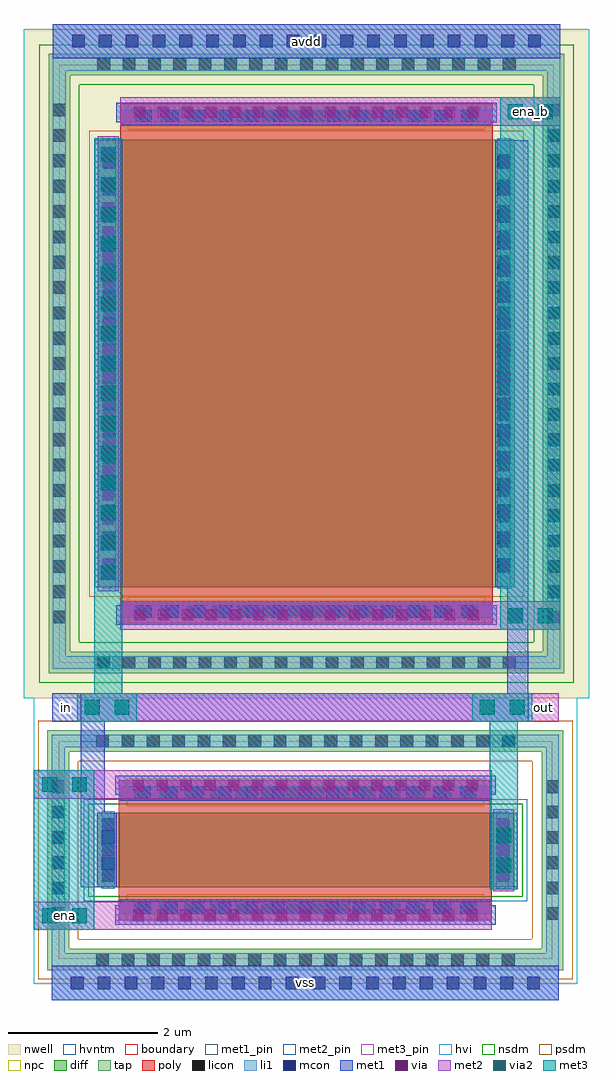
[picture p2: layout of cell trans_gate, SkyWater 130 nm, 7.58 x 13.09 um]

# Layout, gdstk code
import gdstk
lib = gdstk.Library(unit=1e-6, precision=1e-09)
def R(c, l, rs):  # rectangles x0, y0, x1, y1
    for r in rs: c.add(gdstk.rectangle(r[:2], r[2:], *l))
def A(c, l, x, y, w, h, nx, ny, dx, dy):  # array of equal rectangles
    R(c, l, [(x+i*dx, y+j*dy, x+i*dx+w, y+j*dy+h) for i in range(nx) for j in range(ny)])
nwell = (64, 20)
diff = (65, 20)
tap = (65, 44)
poly = (66, 20)
licon = (66, 44)
li1 = (67, 20)
mcon = (67, 44)
met1_pin = (68, 16)
met1 = (68, 20)
via = (68, 44)
met2_pin = (69, 16)
met2 = (69, 20)
via2 = (69, 44)
met3_pin = (70, 16)
met3 = (70, 20)
hvi = (75, 20)
nsdm = (93, 44)
psdm = (94, 20)
npc = (95, 20)
hvntm = (125, 20)
boundary = (235, 4)

sky130_fd_pr__pfet_g5v0d = lib.new_cell('sky130_fd_pr__pfet_g5v0d10v5_E7V9VM')
R(sky130_fd_pr__pfet_g5v0d, nwell, [(-3.79,-4.485,3.79,4.485)])
R(sky130_fd_pr__pfet_g5v0d, diff, [(-2.79,-3,2.79,3)])
R(sky130_fd_pr__pfet_g5v0d, tap, [(-3.46,-4.155,3.46,-3.865), (-3.46,-3.865,-3.17,3.865), (3.17,-3.865,3.46,3.865), (-3.46,3.865,3.46,4.155)])
R(sky130_fd_pr__pfet_g5v0d, poly, [(-2.5,-3.485,2.5,3.485)])
A(sky130_fd_pr__pfet_g5v0d, licon, -2.805, -4.095, 0.17, 0.17, 17, 2, 0.34, 8.02)
A(sky130_fd_pr__pfet_g5v0d, licon, -3.4, -3.485, 0.17, 0.17, 1, 21, 0, 0.34)
A(sky130_fd_pr__pfet_g5v0d, licon, 3.23, -3.485, 0.17, 0.17, 1, 21, 0, 0.34)
A(sky130_fd_pr__pfet_g5v0d, licon, -2.295, -3.405, 0.17, 0.17, 14, 2, 0.34, 6.64)
A(sky130_fd_pr__pfet_g5v0d, licon, -2.73, -2.805, 0.17, 0.17, 1, 17, 0, 0.34)
A(sky130_fd_pr__pfet_g5v0d, licon, 2.56, -2.805, 0.17, 0.17, 1, 17, 0, 0.34)
R(sky130_fd_pr__pfet_g5v0d, li1, [(-3.4,-4.095,3.4,-3.925), (-3.4,-3.925,-3.23,3.925), (3.23,-3.925,3.4,3.925), (-2.5,-3.405,2.5,-3.235), (-2.73,-3.02,-2.56,3.02), (2.56,-3.02,2.73,3.02), (-2.5,3.235,2.5,3.405), (-3.4,3.925,3.4,4.095)])
A(sky130_fd_pr__pfet_g5v0d, mcon, -2.245, -3.405, 0.17, 0.17, 13, 2, 0.36, 6.64)
A(sky130_fd_pr__pfet_g5v0d, mcon, -2.73, -2.785, 0.17, 0.17, 1, 16, 0, 0.36)
A(sky130_fd_pr__pfet_g5v0d, mcon, 2.56, -2.785, 0.17, 0.17, 1, 16, 0, 0.36)
R(sky130_fd_pr__pfet_g5v0d, met1, [(-2.48,-3.435,2.48,-3.205), (-2.76,-3,-2.53,3), (2.53,-3,2.76,3), (-2.48,3.205,2.48,3.435)])
R(sky130_fd_pr__pfet_g5v0d, hvi, [(-3.79,-4.485,3.79,4.485)])
R(sky130_fd_pr__pfet_g5v0d, nsdm, [(-3.585,-4.28,3.585,-3.74), (-3.585,-3.74,-3.045,3.74), (3.045,-3.74,3.585,3.74), (-3.585,3.74,3.585,4.28)])
R(sky130_fd_pr__pfet_g5v0d, psdm, [(-2.915,-3.125,2.915,3.125)])
R(sky130_fd_pr__pfet_g5v0d, npc, [(-2.395,-3.505,2.395,-3.135), (-2.395,3.135,2.395,3.505)])
R(sky130_fd_pr__pfet_g5v0d, boundary, [(-3.315,-4.01,3.315,4.01)])

sky130_fd_pr__nfet_g5v0d = lib.new_cell('sky130_fd_pr__nfet_g5v0d10v5_69BJMM')
R(sky130_fd_pr__nfet_g5v0d, diff, [(-2.79,-0.5,2.79,0.5)])
R(sky130_fd_pr__nfet_g5v0d, tap, [(-3.46,-1.61,3.46,-1.32), (-3.46,-1.32,-3.17,1.32), (3.17,-1.32,3.46,1.32), (-3.46,1.32,3.46,1.61)])
R(sky130_fd_pr__nfet_g5v0d, poly, [(-2.5,-0.94,2.5,0.94)])
A(sky130_fd_pr__nfet_g5v0d, licon, -2.805, -1.55, 0.17, 0.17, 17, 2, 0.34, 2.93)
A(sky130_fd_pr__nfet_g5v0d, licon, -3.4, -0.935, 0.17, 0.17, 1, 6, 0, 0.34)
A(sky130_fd_pr__nfet_g5v0d, licon, 3.23, -0.935, 0.17, 0.17, 1, 6, 0, 0.34)
A(sky130_fd_pr__nfet_g5v0d, licon, -2.295, -0.86, 0.17, 0.17, 14, 2, 0.34, 1.55)
A(sky130_fd_pr__nfet_g5v0d, licon, -2.73, -0.425, 0.17, 0.17, 1, 3, 0, 0.34)
A(sky130_fd_pr__nfet_g5v0d, licon, 2.56, -0.425, 0.17, 0.17, 1, 3, 0, 0.34)
R(sky130_fd_pr__nfet_g5v0d, li1, [(-3.4,-1.55,3.4,-1.38), (-3.4,-1.38,-3.23,1.38), (3.23,-1.38,3.4,1.38), (-2.5,-0.86,2.5,-0.69), (-2.73,-0.52,-2.56,0.52), (2.56,-0.52,2.73,0.52), (-2.5,0.69,2.5,0.86), (-3.4,1.38,3.4,1.55)])
A(sky130_fd_pr__nfet_g5v0d, mcon, -2.245, -0.86, 0.17, 0.17, 13, 2, 0.36, 1.55)
R(sky130_fd_pr__nfet_g5v0d, mcon, [(-2.73,-0.265,-2.56,-0.095), (2.56,-0.265,2.73,-0.095), (-2.73,0.095,-2.56,0.265), (2.56,0.095,2.73,0.265)])
R(sky130_fd_pr__nfet_g5v0d, met1, [(-2.48,-0.89,2.48,-0.66), (-2.76,-0.5,-2.53,0.5), (2.53,-0.5,2.76,0.5), (-2.48,0.66,2.48,0.89)])
R(sky130_fd_pr__nfet_g5v0d, hvi, [(-3.645,-1.795,3.645,1.795)])
R(sky130_fd_pr__nfet_g5v0d, nsdm, [(-2.915,-0.625,2.915,0.625)])
R(sky130_fd_pr__nfet_g5v0d, psdm, [(-3.585,-1.735,3.585,-1.195), (-3.585,-1.195,-3.045,1.195), (3.045,-1.195,3.585,1.195), (-3.585,1.195,3.585,1.735)])
R(sky130_fd_pr__nfet_g5v0d, npc, [(-2.395,-0.96,2.395,-0.59), (-2.395,0.59,2.395,0.96)])
R(sky130_fd_pr__nfet_g5v0d, hvntm, [(-2.975,-0.685,2.975,0.685)])
R(sky130_fd_pr__nfet_g5v0d, boundary, [(-3.31,-1.46,3.31,1.46)])

trans_gate = lib.new_cell('trans_gate')
R(trans_gate, li1, [(6.475,-10.48,13.275,-10.02), (6.49,2.15,13.29,2.61)])
A(trans_gate, mcon, 6.73, -10.335, 0.17, 0.17, 18, 1, 0.36, 0)
A(trans_gate, mcon, 6.745, 2.295, 0.17, 0.17, 18, 1, 0.36, 0)
R(trans_gate, met1_pin, [(6.475,-10.48,13.275,-10.02), (6.48,-6.745,6.865,-6.365), (6.49,2.15,13.29,2.61)])
R(trans_gate, met1, [(6.475,-10.48,13.275,-10.02), (7.325,-9.47,12.425,-9.21), (6.865,-8.97,7.345,-7.97), (12.355,-8.97,12.715,-7.97), (6.865,-7.97,7.185,-6.745), (7.325,-7.73,12.425,-7.47), (12.58,-6.75,12.865,-6.745), (6.48,-6.745,12.865,-6.365), (12.58,-6.365,12.865,-4.93), (7.34,-5.445,12.44,-5.185), (7.05,-4.945,7.41,1.055), (12.565,-4.93,12.865,1.05), (12.565,1.05,12.58,1.055), (7.34,1.295,12.44,1.555), (6.49,2.15,13.29,2.61)])
A(trans_gate, via, 7.56, -9.415, 0.15, 0.15, 15, 2, 0.32, 1.74)
A(trans_gate, via, 12.46, -8.865, 0.15, 0.15, 1, 3, 0, 0.32)
A(trans_gate, via, 7.575, -5.39, 0.15, 0.15, 15, 2, 0.32, 6.74)
A(trans_gate, via, 7.155, -4.74, 0.15, 0.15, 1, 18, 0, 0.32)
R(trans_gate, met2_pin, [(12.865,-6.745,13.275,-6.365)])
R(trans_gate, met2, [(6.235,-9.54,12.375,-9.16), (12.395,-9.02,12.675,-7.92), (6.235,-7.78,12.375,-7.4), (6.865,-6.745,13.275,-6.365), (7.39,-5.515,13.29,-5.135), (7.09,-4.995,7.37,1.105), (7.39,1.245,13.29,1.625)])
A(trans_gate, via2, 7.13, -4.845, 0.2, 0.2, 1, 15, 0, 0.4)
R(trans_gate, via2, [(6.345,-9.45,6.545,-9.25), (6.745,-9.45,6.945,-9.25), (12.435,-8.77,12.635,-8.57), (12.435,-8.37,12.635,-8.17), (6.345,-7.69,6.545,-7.49), (6.745,-7.69,6.945,-7.49), (6.915,-6.655,7.115,-6.455), (7.315,-6.655,7.515,-6.455), (12.215,-6.655,12.415,-6.455), (12.615,-6.655,12.815,-6.455), (12.59,-5.425,12.79,-5.225), (12.99,-5.425,13.19,-5.225), (12.59,1.335,12.79,1.535), (12.99,1.335,13.19,1.535)])
R(trans_gate, met3_pin, [(6.235,-9.54,7.045,-9.16), (12.49,1.245,13.29,1.625)])
R(trans_gate, met3, [(6.235,-9.54,7.045,-7.4), (12.345,-8.995,12.725,-6.745), (6.815,-6.745,7.615,-6.365), (12.115,-6.745,12.915,-6.365), (7.04,-6.365,7.42,1.08), (12.49,-5.515,13.29,1.625)])
R(trans_gate, hvi, [(6.23,-6.675,13.52,-6.43)])
trans_gate.add(gdstk.Reference(sky130_fd_pr__pfet_g5v0d, (9.89,-1.945)))
trans_gate.add(gdstk.Reference(sky130_fd_pr__nfet_g5v0d, (9.875,-8.47)))
trans_gate.add(gdstk.Label('in', (6.672,-6.555), layer=68, texttype=5))
trans_gate.add(gdstk.Label('ena_b', (12.89,1.435), layer=70, texttype=5))
trans_gate.add(gdstk.Label('ena', (6.64,-9.35), layer=70, texttype=5))
trans_gate.add(gdstk.Label('avdd', (9.89,2.38), layer=68, texttype=5))
trans_gate.add(gdstk.Label('vss', (9.875,-10.25), layer=68, texttype=5))
trans_gate.add(gdstk.Label('out', (13.07,-6.555), layer=69, texttype=5))

lib.write_gds('trans_gate.gds')
